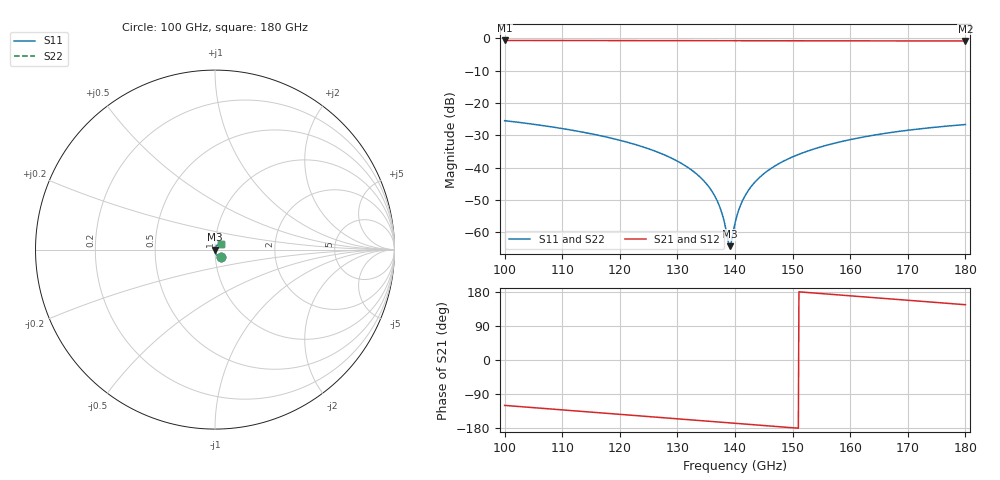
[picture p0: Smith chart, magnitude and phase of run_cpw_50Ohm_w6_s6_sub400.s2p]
#  Hz  S  RI  R  50
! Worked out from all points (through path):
!   801 points, 100 GHz to 180 GHz, reference 50 ohm
!   highest |S21| = -0.61 dB at 100 GHz (marker M1); lowest = -0.8 dB at 180 GHz (marker M2)
!   group delay of S21, straight-line fit = 3.28 ps
!   lowest |S11| = -64.2 dB at 139.1 GHz (marker M3), VSWR 1.00, Z = 49.9 + j0.00469 ohm
!   |S11| at or under -10 dB: start of sweep to end of sweep
!   |S22| runs from -64.2 to -25.4 dB; largest |S21 - S12| = 0
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1e11  0.0318 -0.0431  -0.464 -0.8089  -0.464 -0.8089  0.0318 -0.0431
1.134e11  0.013 -0.0334  -0.6633 -0.6511  -0.6633 -0.6511  0.013 -0.0334
1.208e11  0.00587 -0.0249  -0.7539 -0.542  -0.7539 -0.542  0.00587 -0.0249
1.267e11  0.00199 -0.0172  -0.8132 -0.4457  -0.8132 -0.4457  0.00199 -0.0172
1.317e11  3.2e-05 -0.0103  -0.8538 -0.3589  -0.8538 -0.3589  3.2e-05 -0.0103
1.352e11  -0.00061 -0.0054  -0.8766 -0.2961  -0.8766 -0.2961  -0.00061 -0.0054
1.364e11  -0.000691 -0.00372  -0.8834 -0.2742  -0.8834 -0.2742  -0.000691 -0.00372
1.373e11  -0.000705 -0.00246  -0.8881 -0.2577  -0.8881 -0.2577  -0.000705 -0.00246
1.38e11  -0.000687 -0.00148  -0.8915 -0.2448  -0.8915 -0.2448  -0.000687 -0.00148
1.388e11  -0.000638 -0.00037  -0.8953 -0.23  -0.8953 -0.23  -0.000638 -0.00037
1.391e11  -0.000612 4.7e-05  -0.8966 -0.2245  -0.8966 -0.2245  -0.000612 4.7e-05
1.394e11  -0.00058 0.000463  -0.8979 -0.2189  -0.8979 -0.2189  -0.00058 0.000463
1.4e11  -0.000505 0.00129  -0.9004 -0.2078  -0.9004 -0.2078  -0.000505 0.00129
1.407e11  -0.000394 0.00226  -0.9031 -0.1947  -0.9031 -0.1947  -0.000394 0.00226
1.416e11  -0.000217 0.00349  -0.9064 -0.1779  -0.9064 -0.1779  -0.000217 0.00349
1.427e11  5.43e-05 0.00498  -0.9099 -0.1573  -0.9099 -0.1573  5.43e-05 0.00498
1.441e11  0.000485 0.00686  -0.9137 -0.1309  -0.9137 -0.1309  0.000485 0.00686
1.48e11  0.00218 0.0119  -0.9204 -0.0571  -0.9204 -0.0571  0.00218 0.0119
1.534e11  0.00568 0.0183  -0.9198 0.0454  -0.9198 0.0454  0.00568 0.0183
1.594e11  0.011 0.0242  -0.9058 0.1582  -0.9058 0.1582  0.011 0.0242
1.667e11  0.0188 0.0292  -0.8701 0.2915  -0.8701 0.2915  0.0188 0.0292
1.8e11  0.0342 0.0317  -0.7575 0.5133  -0.7575 0.5133  0.0342 0.0317
